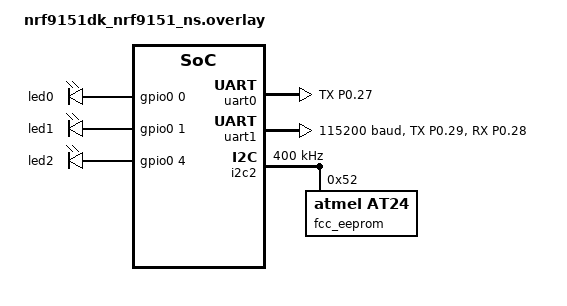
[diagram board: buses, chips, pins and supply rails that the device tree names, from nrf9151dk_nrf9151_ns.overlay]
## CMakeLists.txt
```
#
# Copyright 2023-2026 (c) IRISS Inc. All rights reserved.
#

cmake_minimum_required(VERSION 3.20.0)

find_package(Zephyr REQUIRED HINTS $ENV{ZEPHYR_BASE})
project(dect_nr_fcc)

target_sources(app PRIVATE
  src/main.c
  src/dect_bands.c
  src/settings.c
  src/rf_test.c
  src/at_cmd.c
  src/status_led.c
)
```

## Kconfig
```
#
# Copyright 2023-2026 (c) IRISS Inc. All rights reserved.
#

config FCC_FIRMWARE_VER
	string "Test firmware version"
	default "1.0.0"

config FCC_LOG_LEVEL
	int "Log level for the FCC test modules"
	default 3

menu "Zephyr Kernel"
source "Kconfig.zephyr"
endmenu
```

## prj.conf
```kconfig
# DECT NR+ PHY
CONFIG_NRF_MODEM_LIB=y
CONFIG_NRF_MODEM_LINK_BINARY_DECT_PHY=y
CONFIG_MODEM_ANTENNA=n

# TF-M logging would claim UART1, which is the AT port here.
CONFIG_TFM_LOG_LEVEL_SILENCE=y

# Peripherals
CONFIG_GPIO=y
CONFIG_I2C=y
CONFIG_EEPROM=y
CONFIG_EEPROM_AT24=y
CONFIG_SERIAL=y
CONFIG_UART_INTERRUPT_DRIVEN=y
CONFIG_CRC=y
CONFIG_REBOOT=y

# Debug log on UART0 (TX_DBG, J1-71)
CONFIG_LOG=y
CONFIG_FCC_LOG_LEVEL=3
CONFIG_UART_0_NRF_ASYNC_LOW_POWER=n

CONFIG_MAIN_STACK_SIZE=4096
CONFIG_HEAP_MEM_POOL_SIZE=2048
```

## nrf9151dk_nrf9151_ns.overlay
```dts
/*
 * DECT NR+ Plug-In board (150067) wiring on top of nrf9151dk/nrf9151/ns.
 */

/ {
	chosen {
		fcc,at-uart = &uart1;
	};
};

&pinctrl {
	/* P0.26 is SIM_SWIO on this board, so the debug UART is TX only. */
	uart0_tx_only: uart0_tx_only {
		group1 {
			psels = <NRF_PSEL(UART_TX, 0, 27)>;
		};
	};

	uart0_tx_only_sleep: uart0_tx_only_sleep {
		group1 {
			psels = <NRF_PSEL(UART_TX, 0, 27)>;
			low-power-enable;
		};
	};

	/* AT port on J1: TXD P0.29 (J1-74), RXD P0.28 (J1-72). No flow control. */
	uart1_at: uart1_at {
		group1 {
			psels = <NRF_PSEL(UART_TX, 0, 29)>;
		};
		group2 {
			psels = <NRF_PSEL(UART_RX, 0, 28)>;
			bias-pull-up;
		};
	};

	uart1_at_sleep: uart1_at_sleep {
		group1 {
			psels = <NRF_PSEL(UART_TX, 0, 29)>,
				<NRF_PSEL(UART_RX, 0, 28)>;
			low-power-enable;
		};
	};
};

&uart0 {
	pinctrl-0 = <&uart0_tx_only>;
	pinctrl-1 = <&uart0_tx_only_sleep>;
	disable-rx;
};

&uart1 {
	status = "okay";
	current-speed = <115200>;
	pinctrl-0 = <&uart1_at>;
	pinctrl-1 = <&uart1_at_sleep>;
};

/* M24M02 block 2 (0x52) is unallocated by the mesh firmware; test settings live here. */
&i2c2 {
	status = "okay";
	clock-frequency = <I2C_BITRATE_FAST>;

	fcc_eeprom: eeprom@52 {
		compatible = "atmel,at24";
		reg = <0x52>;
		size = <DT_SIZE_K(64)>;
		pagesize = <256>;
		address-width = <16>;
		timeout = <20>;
	};
};

/* Onboard LEDs through 2N7002 MOSFETs, active high. */
&led0 {
	gpios = <&gpio0 0 GPIO_ACTIVE_HIGH>;   /* LD1 green */
};

&led1 {
	gpios = <&gpio0 1 GPIO_ACTIVE_HIGH>;   /* LD2 red */
};

&led2 {
	gpios = <&gpio0 4 GPIO_ACTIVE_HIGH>;   /* J1-73, mirrors LD1 */
};

&led3 {
	status = "disabled";
};
```

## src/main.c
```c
/*
+------------------------------------------------------------------------------+
| IRISS Inc.
| -----------------------------------------------------------------------------
| Copyright 2023-2026 (c) IRISS Inc. All rights reserved.
+------------------------------------------------------------------------------+
*/
/**
*  @file    main.c
*  @brief   DECT NR+ RF certification test firmware entry point
*  @author  S.Koppula
*  @version 1.0.0
*  @date    11/10/2026
*---------------------------------------------------------------------------
Version     | Date      | Author        | Comments
 1.0.0      11/10/2026   S.Koppula        Initial Development
*/

#include <zephyr/kernel.h>
#include <zephyr/logging/log.h>
#include "at_cmd.h"
#include "rf_test.h"
#include "settings.h"
#include "status_led.h"

LOG_MODULE_REGISTER(main, CONFIG_FCC_LOG_LEVEL);

int main(void)
{
	(void)status_led_init();
	(void)at_init();

	int settings_err = settings_load();
	int phy_err = rf_test_init();

	at_printf("\r\n+READY: IRISS DECT NR+ FCC test firmware v%s\r\n", CONFIG_FCC_FIRMWARE_VER);
	if (settings_err == -ENOENT) {
		at_printf("+EEPROM: no saved settings, using defaults\r\n");
	} else if (settings_err) {
		at_printf("+EEPROM: settings not loaded (%d), using defaults\r\n", settings_err);
	} else {
		at_printf("+EEPROM: settings loaded\r\n");
	}
	if (phy_err) {
		at_printf("+ERROR: DECT PHY init failed (%d / 0x%x)\r\n", phy_err, phy_err);
		status_led_set(false, true);
	}
	at_print_config();

	const struct fcc_settings *s = settings_get();

	if (!phy_err && s->autostart && s->mode != TEST_MODE_IDLE) {
		int err = rf_test_start();

		if (err) {
			at_printf("+TEST: autostart failed (%d)\r\n", err);
		} else {
			at_printf("+TEST: STARTED %s (autostart)\r\n", settings_mode_name(s->mode));
		}
	}

	at_run();
	return 0;
}
```

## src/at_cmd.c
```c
/*
+------------------------------------------------------------------------------+
| IRISS Inc.
| -----------------------------------------------------------------------------
| Copyright 2023-2026 (c) IRISS Inc. All rights reserved.
+------------------------------------------------------------------------------+
*/
/**
*  @file    at_cmd.c
*  @brief   AT command interface on UART1 (J1 TXD/RXD)
*  @author  S.Koppula
*  @version 1.0.0
*  @date    11/10/2026
*---------------------------------------------------------------------------
Version     | Date      | Author        | Comments
 1.0.0      11/10/2026   S.Koppula        Initial Development
*/

#include <ctype.h>
#include <errno.h>
#include <stdarg.h>
#include <stdio.h>
#include <stdlib.h>
#include <string.h>
#include <strings.h>
#include <zephyr/kernel.h>
#include <zephyr/device.h>
#include <zephyr/drivers/uart.h>
#include <zephyr/logging/log.h>
#include <zephyr/sys/reboot.h>
#include "at_cmd.h"
#include "settings.h"
#include "rf_test.h"
#include "dect_bands.h"

LOG_MODULE_REGISTER(at_cmd, CONFIG_FCC_LOG_LEVEL);

#define LINE_MAX 96

static const struct device *const uart = DEVICE_DT_GET(DT_CHOSEN(fcc_at_uart));
K_MSGQ_DEFINE(line_q, LINE_MAX, 4, 1);
static K_MUTEX_DEFINE(out_lock);
static bool uart_ready;

static char rx_line[LINE_MAX];
static size_t rx_len;
static bool rx_overflow;

enum at_type { AT_EXEC, AT_QUERY, AT_SET, AT_TEST };

/* ---- UART ---- */

static void uart_isr(const struct device *dev, void *user_data)
{
	uint8_t c;

	if (!uart_irq_update(dev)) {
		return;
	}
	while (uart_irq_rx_ready(dev) && uart_fifo_read(dev, &c, 1) == 1) {
		if (c == '\r' || c == '\n') {
			if (rx_len && !rx_overflow) {
				rx_line[rx_len] = '\0';
				(void)k_msgq_put(&line_q, rx_line, K_NO_WAIT);
			}
			rx_len = 0;
			rx_overflow = false;
		} else if (c == 0x08 || c == 0x7f) {
			if (rx_len) {
				rx_len--;
			}
		} else if (rx_len < LINE_MAX - 1) {
			rx_line[rx_len++] = c;
		} else {
			rx_overflow = true;
		}
	}
}

int at_init(void)
{
	if (!device_is_ready(uart)) {
		LOG_ERR("AT UART not ready");
		return -ENODEV;
	}
	uart_irq_callback_user_data_set(uart, uart_isr, NULL);
	uart_irq_rx_enable(uart);
	uart_ready = true;
	return 0;
}

void at_printf(const char *fmt, ...)
{
	char buf[256];
	va_list ap;

	if (!uart_ready) {
		return;
	}
	va_start(ap, fmt);
	int n = vsnprintf(buf, sizeof(buf), fmt, ap);

	va_end(ap);
	n = MIN(n, (int)sizeof(buf) - 1);

	k_mutex_lock(&out_lock, K_FOREVER);
	for (int i = 0; i < n; i++) {
		uart_poll_out(uart, buf[i]);
	}
	k_mutex_unlock(&out_lock);
}

/* ---- helpers ---- */

static bool parse_long(const char *s, long min, long max, long *out)
{
	char *end;

	if (!s || !*s) {
		return false;
	}
	errno = 0;
	long v = strtol(s, &end, 0);

	while (*end == ' ') {
		end++;
	}
	if (errno || *end != '\0' || v < min || v > max) {
		return false;
	}
	*out = v;
	return true;
}

static int apply(struct fcc_settings *s)
{
	const char *why = NULL;

	if (rf_test_running()) {
		at_printf("+ERROR: test running, send AT#STOP first\r\n");
		return -EBUSY;
	}
	int err = settings_apply(s, &why);

	if (err == -EINVAL) {
		at_printf("+ERROR: %s\r\n", why);
	} else if (err) {
		at_printf("+ERROR: EEPROM save failed (%d); value is active until reboot\r\n", err);
	}
	return err;
}

static void fmt_mhz(char *buf, size_t len, uint16_t carrier)
{
	uint32_t khz = dect_carrier_khz(carrier);

	snprintf(buf, len, "%u.%03u MHz", khz / 1000, khz % 1000);
}

static int bad_arg(const char *usage)
{
	at_printf("+ERROR: usage %s\r\n", usage);
	return -EINVAL;
}

/* ---- command handlers ---- */

static int cmd_at(enum at_type t, char *arg)
{
	return 0;
}

static int cmd_ati(enum at_type t, char *arg)
{
	at_printf("IRISS DECT NR+ FCC test firmware v%s\r\n", CONFIG_FCC_FIRMWARE_VER);
	return 0;
}

static int cmd_mode(enum at_type t, char *arg)
{
	struct fcc_settings s = *settings_get();

	if (t == AT_QUERY) {
		at_printf("+MODE: %s\r\n", settings_mode_name(s.mode));
		return 0;
	}
	if (t != AT_SET) {
		return bad_arg("AT#MODE=<IDLE|TX|RX|CW>");
	}
	long v;

	for (v = 0; v < TEST_MODE_COUNT; v++) {
		if (strcasecmp(arg, settings_mode_name(v)) == 0) {
			break;
		}
	}
	if (v == TEST_MODE_COUNT && !parse_long(arg, 0, TEST_MODE_COUNT - 1, &v)) {
		return bad_arg("AT#MODE=<IDLE|TX|RX|CW>");
	}
	s.mode = v;
	return apply(&s);
}

static int cmd_band(enum at_type t, char *arg)
{
	struct fcc_settings s = *settings_get();
	uint16_t min, max;
	long band, carrier = -1;

	if (t == AT_QUERY) {
		dect_band_carrier_range(s.band, &min, &max);
		at_printf("+BAND: %u (carriers %u-%u)\r\n", s.band, min, max);
		return 0;
	}
	char *comma = (t == AT_SET) ? strchr(arg, ',') : NULL;

	if (comma) {
		*comma = '\0';
		if (!parse_long(comma + 1, 0, 0xffff, &carrier)) {
			return bad_arg("AT#BAND=<1|2|4|9|22>[,<carrier>]");
		}
	}
	if (t != AT_SET || !parse_long(arg, 0, 255, &band) || !dect_band_is_known(band)) {
		return bad_arg("AT#BAND=<1|2|4|9|22>[,<carrier>]");
	}
	s.band = band;
	if (carrier >= 0) {
		s.carrier = carrier;
	} else if (!dect_carrier_valid(s.band, s.carrier)) {
		dect_band_carrier_range(s.band, &min, &max);
		s.carrier = min;
		at_printf("+CARRIER: %u (moved to band minimum)\r\n", s.carrier);
	}
	return apply(&s);
}

static int cmd_carrier(enum at_type t, char *arg)
{
	struct fcc_settings s = *settings_get();
	char mhz[20];
	long v;

	if (t == AT_QUERY) {
		fmt_mhz(mhz, sizeof(mhz), s.carrier);
		at_printf("+CARRIER: %u (%s, band %u)\r\n", s.carrier, mhz, s.band);
		return 0;
	}
	if (t == AT_TEST) {
		uint16_t min, max;

		dect_band_carrier_range(s.band, &min, &max);
		at_printf("+CARRIER: (%u-%u) for band %u\r\n", min, max, s.band);
		return 0;
	}
	if (t != AT_SET || !parse_long(arg, 0, 0xffff, &v)) {
		return bad_arg("AT#CARRIER=<n>");
	}
	s.carrier = v;
	return apply(&s);
}

static int cmd_mcs(enum at_type t, char *arg)
{
	struct fcc_settings s = *settings_get();
	long v;

	if (t == AT_QUERY) {
		at_printf("+MCS: %u\r\n", s.mcs);
		return 0;
	}
	if (t != AT_SET || !parse_long(arg, 0, DECT_MCS_MAX, &v)) {
		return bad_arg("AT#MCS=<0-4>");
	}
	s.mcs = v;
	return apply(&s);
}

static int cmd_txpwr(enum at_type t, char *arg)
{
	struct fcc_settings s = *settings_get();
	long v;

	if (t == AT_QUERY) {
		at_printf("+TXPWR: %d dBm (PHY code %d)\r\n", s.tx_power_dbm,
			  dect_power_code(s.tx_power_dbm));
		return 0;
	}
	if (t == AT_TEST) {
		at_printf("+TXPWR: (%s) dBm\r\n", dect_power_table_str());
		return 0;
	}
	if (t != AT_SET || !parse_long(arg, -40, 23, &v) || dect_power_code(v) < 0) {
		at_printf("+ERROR: allowed dBm values: %s\r\n", dect_power_table_str());
		return -EINVAL;
	}
	s.tx_power_dbm = v;
	return apply(&s);
}

static int cmd_subslots(enum at_type t, char *arg)
{
	struct fcc_settings s = *settings_get();
	long v;

	if (t == AT_QUERY) {
		uint32_t us_x100 = s.subslots * DECT_SUBSLOT_US_X100;

		at_printf("+SUBSLOTS: %u (payload %u bytes, %u.%02u us)\r\n", s.subslots,
			  dect_tb_bytes(s.mcs, s.subslots), us_x100 / 100, us_x100 % 100);
		return 0;
	}
	if (t != AT_SET || !parse_long(arg, 1, DECT_SUBSLOTS_MAX, &v)) {
		return bad_arg("AT#SUBSLOTS=<1-16>");
	}
	s.subslots = v;
	return apply(&s);
}

static int cmd_gap(enum at_type t, char *arg)
{
	struct fcc_settings s = *settings_get();
	long v;

	if (t == AT_QUERY) {
		at_printf("+GAP: %u ms\r\n", s.tx_gap_ms);
		return 0;
	}
	if (t != AT_SET || !parse_long(arg, 0, 60000, &v)) {
		return bad_arg("AT#GAP=<0-60000 ms>");
	}
	s.tx_gap_ms = v;
	return apply(&s);
}

static int cmd_count(enum at_type t, char *arg)
{
	struct fcc_settings s = *settings_get();
	long v;

	if (t == AT_QUERY) {
		at_printf("+COUNT: %u%s\r\n", s.tx_count, s.tx_count ? "" : " (continuous)");
		return 0;
	}
	if (t != AT_SET || !parse_long(arg, 0, 100000000, &v)) {
		return bad_arg("AT#COUNT=<0=continuous|packets>");
	}
	s.tx_count = v;
	return apply(&s);
}

static int cmd_lbt(enum at_type t, char *arg)
{
	struct fcc_settings s = *settings_get();
	long en, thr = s.lbt_threshold_dbm, per = s.lbt_period_symbols;

	if (t == AT_QUERY) {
		at_printf("+LBT: %u,%d,%u\r\n", s.lbt_enable, s.lbt_threshold_dbm,
			  s.lbt_period_symbols);
		return 0;
	}
	const char *usage = "AT#LBT=<0|1>[,<threshold dBm>[,<period symbols 2-110>]]";

	if (t != AT_SET) {
		return bad_arg(usage);
	}
	char *p2 = strchr(arg, ',');
	char *p3 = NULL;

	if (p2) {
		*p2++ = '\0';
		p3 = strchr(p2, ',');
		if (p3) {
			*p3++ = '\0';
		}
	}
	if (!parse_long(arg, 0, 1, &en) || (p2 && !parse_long(p2, -128, 0, &thr)) ||
	    (p3 && !parse_long(p3, 0, 255, &per))) {
		return bad_arg(usage);
	}
	s.lbt_enable = en;
	s.lbt_threshold_dbm = thr;
	s.lbt_period_symbols = per;
	return apply(&s);
}

static int cmd_netid(enum at_type t, char *arg)
{
	struct fcc_settings s = *settings_get();
	char *end;

	if (t == AT_QUERY) {
		at_printf("+NETID: 0x%08X\r\n", s.network_id);
		return 0;
	}
	if (t != AT_SET || !*arg) {
		return bad_arg("AT#NETID=<32-bit value, e.g. 0x12345678>");
	}
	errno = 0;
	unsigned long v = strtoul(arg, &end, 0);

	if (errno || *end || v > UINT32_MAX) {
		return bad_arg("AT#NETID=<32-bit value, e.g. 0x12345678>");
	}
	s.network_id = v;
	return apply(&s);
}

static int cmd_autostart(enum at_type t, char *arg)
{
	struct fcc_settings s = *settings_get();
	long v;

	if (t == AT_QUERY) {
		at_printf("+AUTOSTART: %u\r\n", s.autostart);
		return 0;
	}
	if (t != AT_SET || !parse_long(arg, 0, 1, &v)) {
		return bad_arg("AT#AUTOSTART=<0|1>");
	}
	s.autostart = v;
	return apply(&s);
}

static int cmd_rxreport(enum at_type t, char *arg)
{
	struct fcc_settings s = *settings_get();
	long v;

	if (t == AT_QUERY) {
		at_printf("+RXREPORT: %u s\r\n", s.rx_report_s);
		return 0;
	}
	if (t != AT_SET || !parse_long(arg, 0, 3600, &v)) {
		return bad_arg("AT#RXREPORT=<0=off|seconds>");
	}
	s.rx_report_s = v;
	return apply(&s);
}

void at_print_config(void)
{
	const struct fcc_settings *s = settings_get();
	char mhz[20];
	uint32_t us_x100 = s->subslots * DECT_SUBSLOT_US_X100;

	fmt_mhz(mhz, sizeof(mhz), s->carrier);
	at_printf("+CFG: MODE=%s\r\n", settings_mode_name(s->mode));
	at_printf("+CFG: BAND=%u\r\n", s->band);
	at_printf("+CFG: CARRIER=%u (%s)\r\n", s->carrier, mhz);
	at_printf("+CFG: MCS=%u\r\n", s->mcs);
	at_printf("+CFG: TXPWR=%d dBm\r\n", s->tx_power_dbm);
	at_printf("+CFG: SUBSLOTS=%u (payload %u bytes, %u.%02u us)\r\n", s->subslots,
		  dect_tb_bytes(s->mcs, s->subslots), us_x100 / 100, us_x100 % 100);
	at_printf("+CFG: GAP=%u ms\r\n", s->tx_gap_ms);
	at_printf("+CFG: COUNT=%u\r\n", s->tx_count);
	at_printf("+CFG: LBT=%u,%d,%u\r\n", s->lbt_enable, s->lbt_threshold_dbm,
		  s->lbt_period_symbols);
	at_printf("+CFG: NETID=0x%08X\r\n", s->network_id);
	at_printf("+CFG: AUTOSTART=%u\r\n", s->autostart);
	at_printf("+CFG: RXREPORT=%u s\r\n", s->rx_report_s);
}

static int cmd_cfg(enum at_type t, char *arg)
{
	if (t != AT_QUERY) {
		return bad_arg("AT#CFG?");
	}
	at_print_config();
	return 0;
}

static int cmd_start(enum at_type t, char *arg)
{
	const struct fcc_settings *s = settings_get();

	if (t != AT_EXEC) {
		return bad_arg("AT#START");
	}
	if (s->mode == TEST_MODE_IDLE) {
		at_printf("+ERROR: mode is IDLE, set AT#MODE first\r\n");
		return -EINVAL;
	}
	int err = rf_test_start();

	if (err == -EBUSY) {
		at_printf("+ERROR: already running\r\n");
	} else if (err) {
		at_printf("+ERROR: start failed (%d / 0x%x)\r\n", err, err);
	} else {
		char mhz[20];

		fmt_mhz(mhz, sizeof(mhz), s->carrier);
		at_printf("+TEST: STARTED %s carrier %u (%s) mcs %u %d dBm\r\n",
			  settings_mode_name(s->mode), s->carrier, mhz, s->mcs, s->tx_power_dbm);
	}
	return err;
}

static int cmd_stop(enum at_type t, char *arg)
{
	if (t != AT_EXEC) {
		return bad_arg("AT#STOP");
	}
	uint8_t was = rf_test_active_mode();
	int err = rf_test_stop();

	if (err) {
		at_printf("+ERROR: stop failed (%d / 0x%x)\r\n", err, err);
		return err;
	}
	if (was == TEST_MODE_TX) {
		struct rf_tx_stats tx;

		rf_test_tx_stats(&tx);
		at_printf("+TXSTATS: sent=%u ok=%u lbt_busy=%u failed=%u\r\n", tx.sent, tx.ok,
			  tx.lbt_busy, tx.failed);
	} else if (was == TEST_MODE_RX) {
		rf_test_print_rx_stats("+RXSTATS");
	}
	at_printf("+TEST: STOPPED\r\n");
	return 0;
}

static int cmd_status(enum at_type t, char *arg)
{
	struct rf_tx_stats tx;
	int16_t temp;
	uint16_t mv;

	if (t != AT_QUERY) {
		return bad_arg("AT#STATUS?");
	}
	rf_test_tx_stats(&tx);
	rf_test_modem_health(&temp, &mv);
	at_printf("+STATUS: %s,%s\r\n", rf_test_running() ? "RUNNING" : "STOPPED",
		  settings_mode_name(rf_test_running() ? rf_test_active_mode() :
							  settings_get()->mode));
	at_printf("+TXSTATS: sent=%u ok=%u lbt_busy=%u failed=%u last_err=0x%x\r\n", tx.sent,
		  tx.ok, tx.lbt_busy, tx.failed, tx.last_err);
	rf_test_print_rx_stats("+RXSTATS");
	at_printf("+MODEM: temp=%d C voltage=%u mV\r\n", temp, mv);
	return 0;
}

static int cmd_rxstats(enum at_type t, char *arg)
{
	if (t == AT_QUERY) {
		rf_test_print_rx_stats("+RXSTATS");
		return 0;
	}
	if (t == AT_SET && strcmp(arg, "0") == 0) {
		rf_test_rx_stats_clear();
		return 0;
	}
	return bad_arg("AT#RXSTATS? | AT#RXSTATS=0 (clear)");
}

static int cmd_bands(enum at_type t, char *arg)
{
	const struct dect_band_info *list;
	int n = dect_bands_get_modem_list(&list);

	if (t != AT_QUERY) {
		return bad_arg("AT#BANDS?");
	}
	if (n == 0) {
		at_printf("+BANDS: modem band list not available\r\n");
	}
	for (int i = 0; i < n; i++) {
		char lo[20], hi[20];

		fmt_mhz(lo, sizeof(lo), list[i].min_carrier);
		fmt_mhz(hi, sizeof(hi), list[i].max_carrier);
		at_printf("+BANDS: band=%u group=%u carriers=%u-%u (%s - %s) power_class=%u "
			  "rx_gain=%d\r\n",
			  list[i].band, list[i].group, list[i].min_carrier, list[i].max_carrier, lo,
			  hi, list[i].power_class, list[i].rx_gain);
	}
	return 0;
}

static int cmd_factory(enum at_type t, char *arg)
{
	struct fcc_settings s;

	if (t != AT_EXEC) {
		return bad_arg("AT#FACTORY");
	}
	settings_defaults(&s);
	return apply(&s);
}

static int cmd_reboot(enum at_type t, char *arg)
{
	if (t != AT_EXEC) {
		return bad_arg("AT#REBOOT");
	}
	(void)rf_test_stop();
	at_printf("OK\r\n");
	k_msleep(50);
	sys_reboot(SYS_REBOOT_COLD);
	return 0;
}

static int cmd_help(enum at_type t, char *arg);

static const struct {
	const char *name;
	int (*fn)(enum at_type t, char *arg);
	const char *help;
} cmds[] = {
	{ "AT", cmd_at, "AT                       attention" },
	{ "ATI", cmd_ati, "ATI                      firmware version" },
	{ "AT#HELP", cmd_help, "AT#HELP                  this list" },
	{ "AT#MODE", cmd_mode, "AT#MODE=<IDLE|TX|RX|CW>  test mode" },
	{ "AT#BAND", cmd_band, "AT#BAND=<1|2|4|9|22>[,c] DECT NR+ band" },
	{ "AT#CARRIER", cmd_carrier, "AT#CARRIER=<n>           absolute carrier number (=? range)" },
	{ "AT#MCS", cmd_mcs, "AT#MCS=<0-4>             modulation and coding scheme" },
	{ "AT#TXPWR", cmd_txpwr, "AT#TXPWR=<dBm>           TX power (=? allowed values)" },
	{ "AT#SUBSLOTS", cmd_subslots, "AT#SUBSLOTS=<1-16>       packet length" },
	{ "AT#GAP", cmd_gap, "AT#GAP=<ms>              idle time between TX packets" },
	{ "AT#COUNT", cmd_count, "AT#COUNT=<n>             TX packets per test, 0=continuous" },
	{ "AT#LBT", cmd_lbt, "AT#LBT=<0|1>[,dBm[,sym]] listen-before-talk" },
	{ "AT#NETID", cmd_netid, "AT#NETID=<0x...>         network ID (TX and RX must match)" },
	{ "AT#AUTOSTART", cmd_autostart, "AT#AUTOSTART=<0|1>       start stored mode at power-up" },
	{ "AT#RXREPORT", cmd_rxreport, "AT#RXREPORT=<s>          RX stats period, 0=off" },
	{ "AT#CFG", cmd_cfg, "AT#CFG?                  all settings" },
	{ "AT#START", cmd_start, "AT#START                 start the stored mode" },
	{ "AT#STOP", cmd_stop, "AT#STOP                  stop and print stats" },
	{ "AT#STATUS", cmd_status, "AT#STATUS?               state, stats, temperature" },
	{ "AT#RXSTATS", cmd_rxstats, "AT#RXSTATS? / =0         RX statistics / clear" },
	{ "AT#BANDS", cmd_bands, "AT#BANDS?                bands reported by the modem" },
	{ "AT#FACTORY", cmd_factory, "AT#FACTORY               restore and save defaults" },
	{ "AT#REBOOT", cmd_reboot, "AT#REBOOT                reboot" },
};

static int cmd_help(enum at_type t, char *arg)
{
	for (size_t i = 0; i < ARRAY_SIZE(cmds); i++) {
		at_printf("%s\r\n", cmds[i].help);
	}
	return 0;
}

static void process_line(char *line)
{
	while (*line == ' ') {
		line++;
	}
	size_t len = strlen(line);

	while (len && line[len - 1] == ' ') {
		line[--len] = '\0';
	}
	if (len == 0) {
		return;
	}

	enum at_type t = AT_EXEC;
	char *arg = "";
	char *eq = strchr(line, '=');

	if (eq) {
		*eq = '\0';
		arg = eq + 1;
		t = (strcmp(arg, "?") == 0) ? AT_TEST : AT_SET;
	} else if (line[len - 1] == '?') {
		line[len - 1] = '\0';
		t = AT_QUERY;
	}
	for (char *p = line; *p; p++) {
		*p = toupper((unsigned char)*p);
	}
	for (size_t i = 0; i < ARRAY_SIZE(cmds); i++) {
		if (strcmp(line, cmds[i].name) == 0) {
			int err = cmds[i].fn(t, arg);

			at_printf(err ? "ERROR\r\n" : "OK\r\n");
			return;
		}
	}
	at_printf("+ERROR: unknown command, try AT#HELP\r\nERROR\r\n");
}

void at_run(void)
{
	char line[LINE_MAX];

	for (;;) {
		k_msgq_get(&line_q, line, K_FOREVER);
		process_line(line);
	}
}
```

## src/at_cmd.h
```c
/*
+------------------------------------------------------------------------------+
| IRISS Inc.
| -----------------------------------------------------------------------------
| Copyright 2023-2026 (c) IRISS Inc. All rights reserved.
+------------------------------------------------------------------------------+
*/
/**
*  @file    at_cmd.h
*  @brief   AT command interface on UART1 (J1 TXD/RXD)
*  @author  S.Koppula
*  @version 1.0.0
*  @date    11/10/2026
*---------------------------------------------------------------------------
Version     | Date      | Author        | Comments
 1.0.0      11/10/2026   S.Koppula        Initial Development
*/

#ifndef AT_CMD_H_
#define AT_CMD_H_

int at_init(void);
/* Thread-safe output to the AT port; caller supplies line endings. */
void at_printf(const char *fmt, ...);
void at_print_config(void);
/* Processes received command lines; never returns. */
void at_run(void);

#endif /* AT_CMD_H_ */
```

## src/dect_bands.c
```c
/*
+------------------------------------------------------------------------------+
| IRISS Inc.
| -----------------------------------------------------------------------------
| Copyright 2023-2026 (c) IRISS Inc. All rights reserved.
+------------------------------------------------------------------------------+
*/
/**
*  @file    dect_bands.c
*  @brief   DECT NR+ band, carrier, MCS and TX power tables
*  @author  S.Koppula
*  @version 1.0.0
*  @date    11/10/2026
*---------------------------------------------------------------------------
Version     | Date      | Author        | Comments
 1.0.0      11/10/2026   S.Koppula        Initial Development
*/

#include <string.h>
#include <zephyr/kernel.h>
#include "dect_bands.h"

/* Same ranges as the NCS dect_shell sample (dect_common.h). */
static const struct {
	uint8_t band;
	uint16_t min;
	uint16_t max;
} band_table[] = {
	{ 1, 1657, 1677 },
	{ 2, 1680, 1700 },
	{ 4, 525, 551 },
	{ 9, 1703, 1711 },
	{ 22, 1691, 1711 },
};

/* Bits per transmission, index = subslots - 1 (nrfxlib dectphy.rst). */
static const uint16_t tbs_bits[DECT_MCS_MAX + 1][DECT_SUBSLOTS_MAX] = {
	{ 0, 136, 264, 400, 536, 664, 792, 920, 1064, 1192, 1320, 1448, 1576, 1704, 1864, 1992 },
	{ 32, 296, 552, 824, 1096, 1352, 1608, 1864, 2104, 2360, 2616, 2872, 3128, 3384, 3704,
	  3960 },
	{ 56, 456, 856, 1256, 1640, 2024, 2360, 2744, 3192, 3576, 3960, 4320, 4768, 5152, 5536,
	  0 },
	{ 88, 616, 1128, 1672, 2168, 2680, 3192, 3704, 4256, 4768, 5280, 0, 0, 0, 0, 0 },
	{ 144, 936, 1736, 2488, 3256, 4024, 4832, 5600, 0, 0, 0, 0, 0, 0, 0, 0 },
};

static const int8_t power_dbm[] = { -40, -30, -20, -16, -12, -8, -4, 0,
				    4,   7,   10,  13,  16,  19,  21, 23 };

static struct dect_band_info modem_bands[8];
static int modem_band_count;

bool dect_band_is_known(uint8_t band)
{
	for (size_t i = 0; i < ARRAY_SIZE(band_table); i++) {
		if (band_table[i].band == band) {
			return true;
		}
	}
	return false;
}

bool dect_band_carrier_range(uint8_t band, uint16_t *min, uint16_t *max)
{
	for (int i = 0; i < modem_band_count; i++) {
		if (modem_bands[i].band == band) {
			*min = modem_bands[i].min_carrier;
			*max = modem_bands[i].max_carrier;
			/* Nordic: never use band 4 outside 525-551 (LTE interference). */
			if (band == 4) {
				*min = MAX(*min, 525);
				*max = MIN(*max, 551);
			}
			return true;
		}
	}
	for (size_t i = 0; i < ARRAY_SIZE(band_table); i++) {
		if (band_table[i].band == band) {
			*min = band_table[i].min;
			*max = band_table[i].max;
			return true;
		}
	}
	return false;
}

bool dect_carrier_valid(uint8_t band, uint16_t carrier)
{
	uint16_t min, max;

	return dect_band_carrier_range(band, &min, &max) && carrier >= min && carrier <= max;
}

uint8_t dect_band_group_index(uint8_t band)
{
	return (band == 4) ? 1 : 0;
}

uint32_t dect_carrier_khz(uint16_t carrier)
{
	return 450144U + (uint32_t)carrier * 864U;
}

uint16_t dect_tb_bytes(uint8_t mcs, uint8_t subslots)
{
	if (mcs > DECT_MCS_MAX || subslots == 0 || subslots > DECT_SUBSLOTS_MAX) {
		return 0;
	}
	return tbs_bits[mcs][subslots - 1] / 8;
}

int dect_power_code(int8_t dbm)
{
	for (size_t i = 0; i < ARRAY_SIZE(power_dbm); i++) {
		if (power_dbm[i] == dbm) {
			return (int)i;
		}
	}
	return -1;
}

const char *dect_power_table_str(void)
{
	return "-40,-30,-20,-16,-12,-8,-4,0,4,7,10,13,16,19,21,23";
}

void dect_bands_set_modem_list(const struct dect_band_info *list, int count)
{
	count = MIN(count, (int)ARRAY_SIZE(modem_bands));
	memcpy(modem_bands, list, count * sizeof(*list));
	modem_band_count = count;
}

int dect_bands_get_modem_list(const struct dect_band_info **list)
{
	*list = modem_bands;
	return modem_band_count;
}
```

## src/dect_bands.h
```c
/*
+------------------------------------------------------------------------------+
| IRISS Inc.
| -----------------------------------------------------------------------------
| Copyright 2023-2026 (c) IRISS Inc. All rights reserved.
+------------------------------------------------------------------------------+
*/
/**
*  @file    dect_bands.h
*  @brief   DECT NR+ band, carrier, MCS and TX power tables
*  @author  S.Koppula
*  @version 1.0.0
*  @date    11/10/2026
*---------------------------------------------------------------------------
Version     | Date      | Author        | Comments
 1.0.0      11/10/2026   S.Koppula        Initial Development
*/

#ifndef DECT_BANDS_H_
#define DECT_BANDS_H_

#include <stdbool.h>
#include <stdint.h>

#define DECT_MCS_MAX        4
#define DECT_SUBSLOTS_MAX   16
#define DECT_TB_BYTES_MAX   700
#define DECT_SUBSLOT_US_X100 20833   /* 10 ms frame / 48 subslots, in 0.01 us */

bool dect_band_is_known(uint8_t band);
/* Carrier range from the modem's band report when available, otherwise the built-in table. */
bool dect_band_carrier_range(uint8_t band, uint16_t *min, uint16_t *max);
bool dect_carrier_valid(uint8_t band, uint16_t carrier);
/* 0 = ~2 GHz bands, 1 = band 4 (~900 MHz). */
uint8_t dect_band_group_index(uint8_t band);
/* Nominal centre frequency in kHz (ETSI TS 103 636-2 5.4.2). */
uint32_t dect_carrier_khz(uint16_t carrier);

/* Transport block size in bytes; 0 if the MCS/length pair is not supported. */
uint16_t dect_tb_bytes(uint8_t mcs, uint8_t subslots);

/* PHY header power code (ETSI TS 103 636-4 table 6.2.1-3a); -1 if dBm is not in the table. */
int dect_power_code(int8_t dbm);
const char *dect_power_table_str(void);

/* Modem-reported band list (filled once the PHY band event arrives). */
struct dect_band_info {
	uint8_t band;
	uint8_t group;
	uint8_t power_class;
	int8_t rx_gain;
	uint16_t min_carrier;
	uint16_t max_carrier;
};
void dect_bands_set_modem_list(const struct dect_band_info *list, int count);
int dect_bands_get_modem_list(const struct dect_band_info **list);

#endif /* DECT_BANDS_H_ */
```

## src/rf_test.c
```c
/*
+------------------------------------------------------------------------------+
| IRISS Inc.
| -----------------------------------------------------------------------------
| Copyright 2023-2026 (c) IRISS Inc. All rights reserved.
+------------------------------------------------------------------------------+
*/
/**
*  @file    rf_test.c
*  @brief   DECT NR+ PHY control for RF certification tests (TX, RX, CW)
*  @author  S.Koppula
*  @version 1.0.0
*  @date    11/10/2026
*---------------------------------------------------------------------------
Version     | Date      | Author        | Comments
 1.0.0      11/10/2026   S.Koppula        Initial Development
*/

#include <errno.h>
#include <stdio.h>
#include <stdlib.h>
#include <string.h>
#include <zephyr/kernel.h>
#include <zephyr/logging/log.h>
#include <zephyr/sys/byteorder.h>
#include <modem/nrf_modem_lib.h>
#include <nrf_modem_dect_phy.h>
#include "rf_test.h"
#include "settings.h"
#include "dect_bands.h"
#include "at_cmd.h"
#include "status_led.h"

LOG_MODULE_REGISTER(rf_test, CONFIG_FCC_LOG_LEVEL);

#define HANDLE_TX          1
#define HANDLE_RX          2
#define RX_CHUNK_MS        5000
#define CTRL_TIMEOUT       K_SECONDS(5)
#define STOP_TIMEOUT       K_SECONDS(3)
#define RETRY_DELAY_MS     10
#define MAX_CONSEC_FAILS   10
#define PAYLOAD_MAGIC0     0xFC
#define PAYLOAD_MAGIC1     0xC7
#define TX_DEVICE_ID       0x0F0C

enum ev_type { EV_DONE, EV_PCC, EV_PCC_ERR, EV_PDC, EV_PDC_ERR };

struct rf_ev {
	uint8_t type;
	uint8_t seq_valid;
	uint16_t seq;
	uint32_t handle;
	int32_t err;
	int16_t rssi2;
	int16_t snr;
};

K_MSGQ_DEFINE(ev_q, sizeof(struct rf_ev), 64, 4);
static K_MUTEX_DEFINE(lock);
static K_SEM_DEFINE(sem_ctrl, 0, 1);
static K_SEM_DEFINE(sem_stopped, 0, 1);

static volatile int ctrl_err;
static volatile int ctrl_expect = -1;
static volatile int16_t modem_temp = NRF_MODEM_DECT_PHY_TEMP_NOT_MEASURED;
static volatile uint16_t modem_mv;
static volatile uint32_t ev_dropped;

/* Everything below is guarded by `lock`. */
static uint8_t state = TEST_MODE_IDLE;
static struct fcc_settings cfg;
static bool phy_inited;
static bool phy_active;
static uint8_t active_group;
static bool in_flight;
static uint32_t in_flight_handle;
static bool op_due;
static int64_t op_due_at;
static int64_t next_report_at;
static uint16_t tx_seq;
static uint8_t consec_fails;
static struct rf_tx_stats tx;
static struct rf_rx_stats rx;
static bool rx_have_last;
static uint16_t rx_last_seq;

static uint8_t tx_buf[DECT_TB_BYTES_MAX];
static union nrf_modem_dect_phy_hdr tx_hdr;

/* ---- modem callback (interrupt context: copy and hand off only) ---- */

static void ctrl_done(int id, int err)
{
	if (id == ctrl_expect) {
		ctrl_err = err;
		ctrl_expect = -1;
		k_sem_give(&sem_ctrl);
	}
}

static void post(const struct rf_ev *ev)
{
	if (k_msgq_put(&ev_q, ev, K_NO_WAIT)) {
		ev_dropped++;
	}
}

static void on_bands(const struct nrf_modem_dect_phy_band_get_event *evt)
{
	struct dect_band_info list[8];
	int n = MIN((int)evt->band_count, (int)ARRAY_SIZE(list));

	for (int i = 0; i < n; i++) {
		list[i] = (struct dect_band_info){
			.band = evt->band[i].band_number,
			.group = evt->band[i].band_group_index,
			.power_class = evt->band[i].power_class,
			.rx_gain = evt->band[i].rx_gain,
			.min_carrier = evt->band[i].min_carrier,
			.max_carrier = evt->band[i].max_carrier,
		};
	}
	if (evt->err == NRF_MODEM_DECT_PHY_SUCCESS) {
		dect_bands_set_modem_list(list, n);
	}
}

static void phy_event_handler(const struct nrf_modem_dect_phy_event *evt)
{
	struct rf_ev ev = { 0 };

	switch (evt->id) {
	case NRF_MODEM_DECT_PHY_EVT_INIT:
		modem_temp = evt->init.temp;
		modem_mv = evt->init.voltage;
		ctrl_done(evt->id, evt->init.err);
		break;
	case NRF_MODEM_DECT_PHY_EVT_DEINIT:
		ctrl_done(evt->id, evt->deinit.err);
		break;
	case NRF_MODEM_DECT_PHY_EVT_CONFIGURE:
		ctrl_done(evt->id, evt->configure.err);
		break;
	case NRF_MODEM_DECT_PHY_EVT_ACTIVATE:
		modem_temp = evt->activate.temp;
		modem_mv = evt->activate.voltage;
		ctrl_done(evt->id, evt->activate.err);
		break;
	case NRF_MODEM_DECT_PHY_EVT_DEACTIVATE:
		ctrl_done(evt->id, evt->deactivate.err);
		break;
	case NRF_MODEM_DECT_PHY_EVT_BANDS:
		on_bands(&evt->band_get);
		ctrl_done(evt->id, evt->band_get.err);
		break;
	case NRF_MODEM_DECT_PHY_EVT_TEST_RF_TX_CW_CONTROL_CONFIG:
		ctrl_done(evt->id, evt->test_rf_tx_cw_control.err);
		break;
	case NRF_MODEM_DECT_PHY_EVT_COMPLETED:
		if (evt->op_complete.temp != NRF_MODEM_DECT_PHY_TEMP_NOT_MEASURED) {
			modem_temp = evt->op_complete.temp;
		}
		if (evt->op_complete.voltage != NRF_MODEM_DECT_PHY_VOLTAGE_NOT_MEASURED) {
			modem_mv = evt->op_complete.voltage;
		}
		ev.type = EV_DONE;
		ev.handle = evt->op_complete.handle;
		ev.err = evt->op_complete.err;
		post(&ev);
		break;
	case NRF_MODEM_DECT_PHY_EVT_PCC:
		ev.type = (evt->pcc.header_status == NRF_MODEM_DECT_PHY_HDR_STATUS_INVALID) ?
			  EV_PCC_ERR : EV_PCC;
		ev.rssi2 = evt->pcc.rssi_2;
		ev.snr = evt->pcc.snr;
		post(&ev);
		break;
	case NRF_MODEM_DECT_PHY_EVT_PCC_ERROR:
		ev.type = EV_PCC_ERR;
		post(&ev);
		break;
	case NRF_MODEM_DECT_PHY_EVT_PDC: {
		const uint8_t *d = evt->pdc.data;

		ev.type = EV_PDC;
		ev.rssi2 = evt->pdc.rssi_2;
		ev.snr = evt->pdc.snr;
		if (d && evt->pdc.len >= 4 && d[0] == PAYLOAD_MAGIC0 && d[1] == PAYLOAD_MAGIC1) {
			ev.seq_valid = 1;
			ev.seq = sys_get_le16(&d[2]);
		}
		post(&ev);
		break;
	}
	case NRF_MODEM_DECT_PHY_EVT_PDC_ERROR:
		ev.type = EV_PDC_ERR;
		post(&ev);
		break;
	default:
		break;
	}
}

/* ---- synchronous PHY control (caller holds `lock`) ---- */

static int ctrl_wait(int id, int call_ret)
{
	if (call_ret) {
		ctrl_expect = -1;
		LOG_ERR("PHY call for event %d failed: %d", id, call_ret);
		return call_ret;
	}
	if (k_sem_take(&sem_ctrl, CTRL_TIMEOUT)) {
		ctrl_expect = -1;
		LOG_ERR("PHY event %d timeout", id);
		return -ETIMEDOUT;
	}
	if (ctrl_err) {
		LOG_ERR("PHY event %d error 0x%x", id, ctrl_err);
	}
	return ctrl_err;
}

#define CTRL(id, call) ({ k_sem_reset(&sem_ctrl); ctrl_expect = (id); ctrl_wait((id), (call)); })

static int phy_configure_activate(uint8_t group)
{
	struct nrf_modem_dect_phy_config_params p = {
		.band_group_index = group,
		.harq_rx_process_count = 4,
		.harq_rx_expiry_time_us = 5000000,
	};
	int err = CTRL(NRF_MODEM_DECT_PHY_EVT_CONFIGURE, nrf_modem_dect_phy_configure(&p));

	if (err) {
		return err;
	}
	err = CTRL(NRF_MODEM_DECT_PHY_EVT_ACTIVATE,
		   nrf_modem_dect_phy_activate(NRF_MODEM_DECT_PHY_RADIO_MODE_LOW_LATENCY));
	if (err) {
		return err;
	}
	phy_active = true;
	active_group = group;
	return 0;
}

static int phy_up(uint8_t group)
{
	if (!phy_inited) {
		int err = CTRL(NRF_MODEM_DECT_PHY_EVT_INIT, nrf_modem_dect_phy_init());

		if (err) {
			return err;
		}
		phy_inited = true;
	}
	if (phy_active && active_group == group) {
		return 0;
	}
	if (phy_active) {
		int err = CTRL(NRF_MODEM_DECT_PHY_EVT_DEACTIVATE, nrf_modem_dect_phy_deactivate());

		if (err) {
			return err;
		}
		phy_active = false;
	}
	return phy_configure_activate(group);
}

static int phy_down(void)
{
	int err;

	if (phy_active) {
		err = CTRL(NRF_MODEM_DECT_PHY_EVT_DEACTIVATE, nrf_modem_dect_phy_deactivate());
		if (err) {
			return err;
		}
		phy_active = false;
	}
	if (phy_inited) {
		err = CTRL(NRF_MODEM_DECT_PHY_EVT_DEINIT, nrf_modem_dect_phy_deinit());
		if (err) {
			return err;
		}
		phy_inited = false;
	}
	return 0;
}

/* ---- TX / RX scheduling (caller holds `lock`) ---- */

static void fill_payload(void)
{
	uint16_t lfsr = 0x1FF;   /* PN9 filler so the spectrum looks like real traffic */

	for (size_t i = 4; i < sizeof(tx_buf); i++) {
		uint8_t byte = 0;

		for (int b = 0; b < 8; b++) {
			uint16_t bit = ((lfsr >> 0) ^ (lfsr >> 4)) & 1;

			byte = (byte << 1) | (lfsr & 1);
			lfsr = (lfsr >> 1) | (bit << 8);
		}
		tx_buf[i] = byte;
	}
	tx_buf[0] = PAYLOAD_MAGIC0;
	tx_buf[1] = PAYLOAD_MAGIC1;
}

static void stop_on_failures(const char *what, int err)
{
	consec_fails++;
	if (consec_fails <= 3 || (consec_fails % 100) == 0) {
		at_printf("+%sERR: 0x%x\r\n", what, err);
	}
	if (consec_fails >= MAX_CONSEC_FAILS) {
		state = TEST_MODE_IDLE;
		op_due = false;
		at_printf("+TEST: STOPPED after %u consecutive %s errors (last 0x%x)\r\n",
			  consec_fails, what, err);
		status_led_set(false, true);
	} else {
		op_due = true;
		op_due_at = k_uptime_get() + RETRY_DELAY_MS;
	}
}

static void tx_schedule(void)
{
	uint16_t len = dect_tb_bytes(cfg.mcs, cfg.subslots);

	sys_put_le16(tx_seq, &tx_buf[2]);
	tx_hdr.hdr_type_1 = (struct nrf_modem_dect_phy_hdr_type_1){
		.packet_length = cfg.subslots - 1,
		.packet_length_type = 0,
		.header_format = 0,
		.short_network_id = cfg.network_id & 0xff,
		.transmitter_id_hi = TX_DEVICE_ID >> 8,
		.transmitter_id_lo = TX_DEVICE_ID & 0xff,
		.df_mcs = cfg.mcs,
		.reserved = 0,
		.transmit_power = dect_power_code(cfg.tx_power_dbm),
	};
	struct nrf_modem_dect_phy_tx_params p = {
		.start_time = 0,
		.handle = HANDLE_TX,
		.network_id = cfg.network_id,
		.phy_type = 0,
		.lbt_rssi_threshold_max = cfg.lbt_threshold_dbm,
		.carrier = cfg.carrier,
		.lbt_period = cfg.lbt_enable ?
			      cfg.lbt_period_symbols * NRF_MODEM_DECT_SYMBOL_DURATION : 0,
		.phy_header = &tx_hdr,
		.bs_cqi = NRF_MODEM_DECT_PHY_BS_CQI_NOT_USED,
		.data = tx_buf,
		.data_size = len,
	};
	int err = nrf_modem_dect_phy_tx(&p);

	if (err) {
		tx.failed++;
		tx.last_err = err;
		stop_on_failures("TX", err);
		return;
	}
	in_flight = true;
	in_flight_handle = HANDLE_TX;
	tx.sent++;
	tx_seq++;
}

static void rx_schedule(void)
{
	struct nrf_modem_dect_phy_rx_params p = {
		.start_time = 0,
		.handle = HANDLE_RX,
		.network_id = cfg.network_id,
		.mode = NRF_MODEM_DECT_PHY_RX_MODE_CONTINUOUS,
		.rssi_interval = NRF_MODEM_DECT_PHY_RSSI_INTERVAL_OFF,
		.link_id = NRF_MODEM_DECT_PHY_LINK_UNSPECIFIED,
		.rssi_level = 0,   /* fast AGC: unknown level in the lab */
		.carrier = cfg.carrier,
		.duration = RX_CHUNK_MS * NRF_MODEM_DECT_MODEM_TIME_TICK_RATE_KHZ,
		.filter.short_network_id = cfg.network_id & 0xff,
		.filter.is_short_network_id_used = 1,
		.filter.receiver_identity = 0,
	};
	int err = nrf_modem_dect_phy_rx(&p);

	if (err) {
		stop_on_failures("RX", err);
		return;
	}
	in_flight = true;
	in_flight_handle = HANDLE_RX;
}

static void handle_done(const struct rf_ev *ev)
{
	bool is_tx = (ev->handle == HANDLE_TX);

	in_flight = false;
	if (is_tx) {
		if (ev->err == NRF_MODEM_DECT_PHY_SUCCESS) {
			tx.ok++;
		} else if (ev->err == NRF_MODEM_DECT_PHY_ERR_LBT_CHANNEL_BUSY) {
			tx.lbt_busy++;
		} else if (ev->err != NRF_MODEM_DECT_PHY_ERR_OP_CANCELED) {
			tx.failed++;
			tx.last_err = ev->err;
		}
	}

	if (state != (is_tx ? TEST_MODE_TX : TEST_MODE_RX)) {
		k_sem_give(&sem_stopped);
		return;
	}

	bool ok = ev->err == NRF_MODEM_DECT_PHY_SUCCESS ||
		  ev->err == NRF_MODEM_DECT_PHY_ERR_LBT_CHANNEL_BUSY;

	if (!ok) {
		stop_on_failures(is_tx ? "TX" : "RX", ev->err);
		return;
	}
	consec_fails = 0;

	if (!is_tx) {
		rx_schedule();
		return;
	}
	if (cfg.tx_count && tx.sent >= cfg.tx_count) {
		state = TEST_MODE_IDLE;
		at_printf("+TXDONE: sent=%u ok=%u lbt_busy=%u failed=%u\r\n",
			  tx.sent, tx.ok, tx.lbt_busy, tx.failed);
		status_led_set(false, false);
		return;
	}
	if (cfg.tx_gap_ms == 0) {
		tx_schedule();
	} else {
		op_due = true;
		op_due_at = k_uptime_get() + cfg.tx_gap_ms;
	}
}

static void handle_rx_ev(const struct rf_ev *ev)
{
	switch (ev->type) {
	case EV_PCC:
		rx.pcc_ok++;
		break;
	case EV_PCC_ERR:
		rx.pcc_crc_err++;
		break;
	case EV_PDC_ERR:
		rx.pdc_crc_err++;
		break;
	case EV_PDC:
		rx.pdc_ok++;
		if (ev->rssi2 != NRF_MODEM_DECT_PHY_RSSI2_NOT_MEASURED) {
			if (rx.rssi_count == 0 || ev->rssi2 < rx.rssi_min_x2) {
				rx.rssi_min_x2 = ev->rssi2;
			}
			if (rx.rssi_count == 0 || ev->rssi2 > rx.rssi_max_x2) {
				rx.rssi_max_x2 = ev->rssi2;
			}
			rx.rssi_sum_x2 += ev->rssi2;
			rx.rssi_count++;
		}
		if (ev->snr != NRF_MODEM_DECT_PHY_SNR_NOT_MEASURED) {
			rx.snr_sum_x4 += ev->snr;
			rx.snr_count++;
		}
		if (ev->seq_valid) {
			rx.valid++;
			if (rx_have_last) {
				uint16_t diff = ev->seq - rx_last_seq;

				/* Large jumps mean the transmitter restarted; don't count them. */
				if (diff > 1 && diff < 0x8000) {
					rx.lost += diff - 1;
				}
			}
			rx_last_seq = ev->seq;
			rx_have_last = true;
		}
		break;
	default:
		break;
	}
}

static void runner(void)
{
	for (;;) {
		struct rf_ev ev;
		int64_t now = k_uptime_get();
		int64_t wait = 200;

		k_mutex_lock(&lock, K_FOREVER);
		if (op_due) {
			wait = MIN(wait, MAX(0, op_due_at - now));
		}
		if (state == TEST_MODE_RX && cfg.rx_report_s) {
			wait = MIN(wait, MAX(0, next_report_at - now));
		}
		k_mutex_unlock(&lock);

		bool got = (k_msgq_get(&ev_q, &ev, K_MSEC(wait)) == 0);

		k_mutex_lock(&lock, K_FOREVER);
		if (got) {
			if (ev.type == EV_DONE) {
				handle_done(&ev);
			} else {
				handle_rx_ev(&ev);
			}
		}
		now = k_uptime_get();
		if (op_due && !in_flight && now >= op_due_at) {
			op_due = false;
			if (state == TEST_MODE_TX) {
				tx_schedule();
			} else if (state == TEST_MODE_RX) {
				rx_schedule();
			}
		}
		bool report = state == TEST_MODE_RX && cfg.rx_report_s && now >= next_report_at;

		if (report) {
			next_report_at = now + cfg.rx_report_s * 1000;
		}
		k_mutex_unlock(&lock);

		if (report) {
			rf_test_print_rx_stats("+RXSTATS");
		}
	}
}

K_THREAD_DEFINE(rf_runner, 2048, runner, NULL, NULL, NULL, 5, 0, 0);

/* ---- public API ---- */

int rf_test_init(void)
{
	int err = nrf_modem_lib_init();

	if (err) {
		LOG_ERR("nrf_modem_lib_init failed: %d (is DECT NR+ PHY modem firmware flashed?)",
			err);
		return err;
	}
	err = nrf_modem_dect_phy_event_handler_set(phy_event_handler);
	if (err) {
		return err;
	}

	k_mutex_lock(&lock, K_FOREVER);
	err = phy_up(dect_band_group_index(settings_get()->band));
	if (!err && CTRL(NRF_MODEM_DECT_PHY_EVT_BANDS, nrf_modem_dect_phy_band_get())) {
		LOG_WRN("Band list not available; using built-in carrier ranges");
	}
	k_mutex_unlock(&lock);
	fill_payload();
	return err;
}

int rf_test_start(void)
{
	int err = 0;

	k_mutex_lock(&lock, K_FOREVER);
	if (state != TEST_MODE_IDLE) {
		err = -EBUSY;
		goto out;
	}
	cfg = *settings_get();
	op_due = false;
	consec_fails = 0;
	uint8_t group = dect_band_group_index(cfg.band);

	switch (cfg.mode) {
	case TEST_MODE_TX:
	case TEST_MODE_RX:
		err = phy_up(group);
		if (err) {
			goto out;
		}
		state = cfg.mode;
		if (cfg.mode == TEST_MODE_TX) {
			memset(&tx, 0, sizeof(tx));
			tx_seq = 0;
			tx_schedule();
		} else {
			memset(&rx, 0, sizeof(rx));
			rx_have_last = false;
			next_report_at = k_uptime_get() + cfg.rx_report_s * 1000;
			rx_schedule();
		}
		break;
	case TEST_MODE_CW:
		err = phy_down();
		if (err) {
			goto out;
		}
		err = CTRL(NRF_MODEM_DECT_PHY_EVT_TEST_RF_TX_CW_CONTROL_CONFIG,
			   nrf_modem_dect_phy_test_rf_tx_cw_control(
				   NRF_MODEM_DECT_PHY_TEST_RF_TX_CW_OPER_ON, cfg.carrier,
				   cfg.tx_power_dbm));
		if (err) {
			(void)phy_up(group);
			goto out;
		}
		state = TEST_MODE_CW;
		break;
	default:
		err = -EINVAL;
		goto out;
	}
	status_led_set(state != TEST_MODE_IDLE, false);
out:
	k_mutex_unlock(&lock);
	return err;
}

int rf_test_stop(void)
{
	int err = 0;
	bool wait = false;

	k_mutex_lock(&lock, K_FOREVER);
	switch (state) {
	case TEST_MODE_CW:
		err = CTRL(NRF_MODEM_DECT_PHY_EVT_TEST_RF_TX_CW_CONTROL_CONFIG,
			   nrf_modem_dect_phy_test_rf_tx_cw_control(
				   NRF_MODEM_DECT_PHY_TEST_RF_TX_CW_OPER_OFF, cfg.carrier,
				   cfg.tx_power_dbm));
		if (err) {
			break;
		}
		state = TEST_MODE_IDLE;
		err = phy_up(dect_band_group_index(cfg.band));
		break;
	case TEST_MODE_TX:
	case TEST_MODE_RX:
		state = TEST_MODE_IDLE;
		op_due = false;
		if (in_flight) {
			wait = true;
			k_sem_reset(&sem_stopped);
			(void)nrf_modem_dect_phy_cancel(in_flight_handle);
		}
		break;
	default:
		break;
	}
	k_mutex_unlock(&lock);

	if (wait && k_sem_take(&sem_stopped, STOP_TIMEOUT)) {
		LOG_WRN("Timed out waiting for the PHY operation to stop");
	}
	status_led_set(false, err != 0);
	return err;
}

bool rf_test_running(void)
{
	return state != TEST_MODE_IDLE;
}

uint8_t rf_test_active_mode(void)
{
	return state;
}

void rf_test_tx_stats(struct rf_tx_stats *out)
{
	k_mutex_lock(&lock, K_FOREVER);
	*out = tx;
	k_mutex_unlock(&lock);
}

void rf_test_rx_stats(struct rf_rx_stats *out)
{
	k_mutex_lock(&lock, K_FOREVER);
	*out = rx;
	k_mutex_unlock(&lock);
}

void rf_test_rx_stats_clear(void)
{
	k_mutex_lock(&lock, K_FOREVER);
	memset(&rx, 0, sizeof(rx));
	rx_have_last = false;
	k_mutex_unlock(&lock);
}

/* Formats a value in tenths as "-12.3". */
static void fmt_tenths(char *buf, size_t len, int32_t v)
{
	snprintf(buf, len, "%s%d.%d", v < 0 ? "-" : "", abs(v) / 10, abs(v) % 10);
}

void rf_test_print_rx_stats(const char *prefix)
{
	struct rf_rx_stats s;
	char rssi[16] = "n/a", rmin[16] = "n/a", rmax[16] = "n/a", snr[16] = "n/a";
	char per[16] = "n/a";

	rf_test_rx_stats(&s);
	if (s.rssi_count) {
		fmt_tenths(rssi, sizeof(rssi), (s.rssi_sum_x2 * 5) / (int32_t)s.rssi_count);
		fmt_tenths(rmin, sizeof(rmin), s.rssi_min_x2 * 5);
		fmt_tenths(rmax, sizeof(rmax), s.rssi_max_x2 * 5);
	}
	if (s.snr_count) {
		fmt_tenths(snr, sizeof(snr), (s.snr_sum_x4 * 10 / 4) / (int32_t)s.snr_count);
	}
	if (s.valid + s.lost) {
		uint64_t per_x1000 = (uint64_t)s.lost * 1000 / (s.valid + s.lost);

		snprintf(per, sizeof(per), "%u.%u%%", (unsigned)(per_x1000 / 10),
			 (unsigned)(per_x1000 % 10));
	}
	at_printf("%s: rx=%u lost=%u per=%s pcc_ok=%u pcc_err=%u pdc_ok=%u pdc_err=%u "
		  "rssi=%s(min %s max %s)dBm snr=%sdB\r\n",
		  prefix, s.valid, s.lost, per, s.pcc_ok, s.pcc_crc_err, s.pdc_ok,
		  s.pdc_crc_err, rssi, rmin, rmax, snr);
	if (ev_dropped) {
		at_printf("+WARN: %u PHY events dropped (queue full)\r\n", ev_dropped);
	}
}

void rf_test_modem_health(int16_t *temp, uint16_t *mv)
{
	*temp = modem_temp;
	*mv = modem_mv;
}
```

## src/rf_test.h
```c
/*
+------------------------------------------------------------------------------+
| IRISS Inc.
| -----------------------------------------------------------------------------
| Copyright 2023-2026 (c) IRISS Inc. All rights reserved.
+------------------------------------------------------------------------------+
*/
/**
*  @file    rf_test.h
*  @brief   DECT NR+ PHY control for RF certification tests (TX, RX, CW)
*  @author  S.Koppula
*  @version 1.0.0
*  @date    11/10/2026
*---------------------------------------------------------------------------
Version     | Date      | Author        | Comments
 1.0.0      11/10/2026   S.Koppula        Initial Development
*/

#ifndef RF_TEST_H_
#define RF_TEST_H_

#include <stdbool.h>
#include <stdint.h>

struct rf_tx_stats {
	uint32_t sent;
	uint32_t ok;
	uint32_t lbt_busy;
	uint32_t failed;
	int32_t last_err;
};

struct rf_rx_stats {
	uint32_t pcc_ok;
	uint32_t pcc_crc_err;
	uint32_t pdc_ok;
	uint32_t pdc_crc_err;
	uint32_t valid;        /* PDC with the test magic */
	uint32_t lost;         /* sequence-number gaps */
	int32_t rssi_sum_x2;   /* RSSI-2, 0.5 dBm units */
	int16_t rssi_min_x2;
	int16_t rssi_max_x2;
	int32_t snr_sum_x4;    /* SNR, 0.25 dB units */
	uint32_t snr_count;
	uint32_t rssi_count;
};

/* Brings the PHY up (init, configure, activate) and reads the modem band list. */
int rf_test_init(void);

/* Starts the mode stored in settings. */
int rf_test_start(void);
int rf_test_stop(void);
bool rf_test_running(void);
uint8_t rf_test_active_mode(void);

void rf_test_tx_stats(struct rf_tx_stats *out);
void rf_test_rx_stats(struct rf_rx_stats *out);
void rf_test_rx_stats_clear(void);
void rf_test_print_rx_stats(const char *prefix);

/* Last temperature (C) and voltage (mV) reported by the modem. */
void rf_test_modem_health(int16_t *temp, uint16_t *mv);

#endif /* RF_TEST_H_ */
```

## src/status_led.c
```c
/*
+------------------------------------------------------------------------------+
| IRISS Inc.
| -----------------------------------------------------------------------------
| Copyright 2023-2026 (c) IRISS Inc. All rights reserved.
+------------------------------------------------------------------------------+
*/
/**
*  @file    status_led.c
*  @brief   Test state on LD1 (green), LD2 (red) and LED2 (J1-73)
*  @author  S.Koppula
*  @version 1.0.0
*  @date    11/10/2026
*---------------------------------------------------------------------------
Version     | Date      | Author        | Comments
 1.0.0      11/10/2026   S.Koppula        Initial Development
*/

#include <zephyr/kernel.h>
#include <zephyr/drivers/gpio.h>
#include "status_led.h"

static const struct gpio_dt_spec green = GPIO_DT_SPEC_GET(DT_ALIAS(led0), gpios);
static const struct gpio_dt_spec red = GPIO_DT_SPEC_GET(DT_ALIAS(led1), gpios);
static const struct gpio_dt_spec ext = GPIO_DT_SPEC_GET(DT_ALIAS(led2), gpios);
static bool ready;

static void blink(struct k_timer *t)
{
	gpio_pin_toggle_dt(&red);
}

K_TIMER_DEFINE(blink_timer, blink, NULL);

int status_led_init(void)
{
	if (!gpio_is_ready_dt(&green) || !gpio_is_ready_dt(&red) || !gpio_is_ready_dt(&ext)) {
		return -ENODEV;
	}
	gpio_pin_configure_dt(&green, GPIO_OUTPUT_INACTIVE);
	gpio_pin_configure_dt(&red, GPIO_OUTPUT_INACTIVE);
	gpio_pin_configure_dt(&ext, GPIO_OUTPUT_INACTIVE);
	ready = true;
	status_led_set(false, false);
	return 0;
}

void status_led_set(bool running, bool fault)
{
	if (!ready) {
		return;
	}
	k_timer_stop(&blink_timer);
	gpio_pin_set_dt(&green, running);
	gpio_pin_set_dt(&ext, running);
	gpio_pin_set_dt(&red, !running);
	if (fault) {
		k_timer_start(&blink_timer, K_MSEC(250), K_MSEC(250));
	}
}
```
